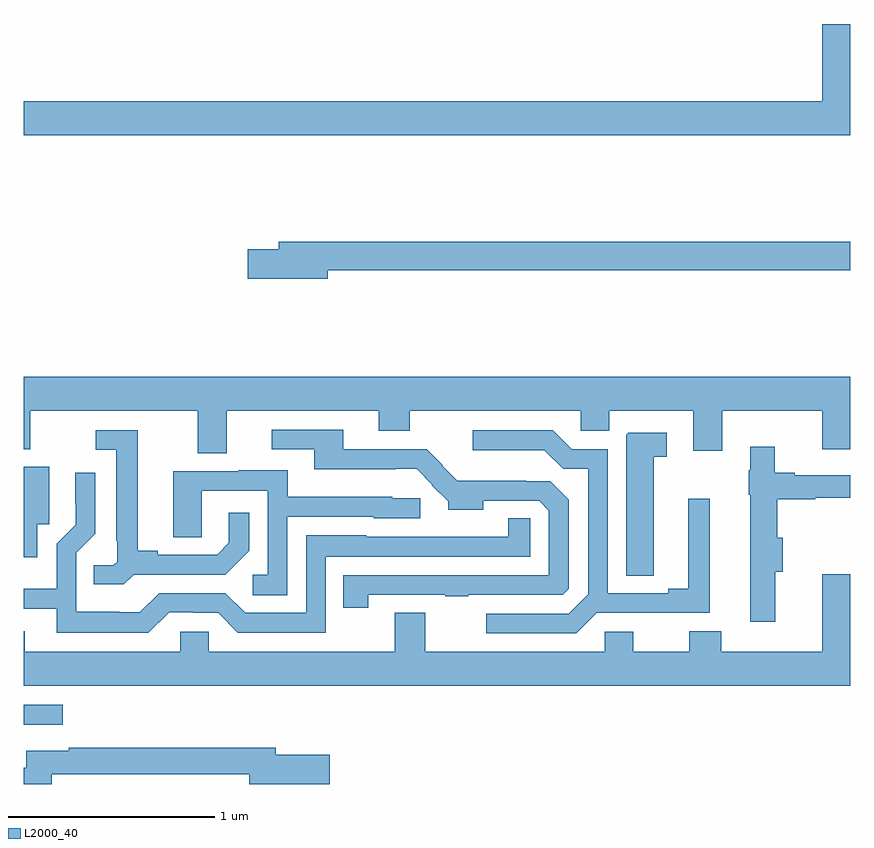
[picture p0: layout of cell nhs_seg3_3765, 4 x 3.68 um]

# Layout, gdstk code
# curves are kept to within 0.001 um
import gdstk
lib = gdstk.Library(unit=1e-6, precision=1e-09)
def R(c, l, rs):  # rectangles x0, y0, x1, y1
    for r in rs: c.add(gdstk.rectangle(r[:2], r[2:], *l))
def P(c, l, *ps):  # polygons
    for p in ps: c.add(gdstk.Polygon(p, *l))
L2000_40 = (2000, 40)

nhs_seg3_3765 = lib.new_cell('nhs_seg3_3765')
R(nhs_seg3_3765, L2000_40, [(305,740.688,305.188,740.784)])
P(nhs_seg3_3765, L2000_40, [(309,744.079),(308.864,744.079),(308.864,743.704),(305,743.704),(305,743.54),(309,743.54)],
  [(306.472,742.888),(309,742.888),(309,743.024),(306.233,743.024),(306.233,742.988),(306.084,742.988),(306.084,742.846),(306.472,742.846)],
  [(305,742.021),(305.031,742.021),(305.031,742.208),(305.843,742.208),(305.843,742),(305.983,742),(305.983,742.208),(306.719,742.208),(306.719,742.109),(306.867,742.109),(306.867,742.208),(307.695,742.208),(307.695,742.11),(307.834,742.11),(307.834,742.208),(308.24,742.208),(308.24,742.014),(308.38,742.014),(308.38,742.208),(308.864,742.208),(308.864,742.02),(309,742.02),(309,742.372),(305,742.372)],
  [(306.666,741.315),(307.039,741.315),(307.039,741.31),(307.151,741.31),(307.151,741.315),(307.608,741.315),(307.638,741.345),(307.638,741.777),(307.549,741.866),(307.433,741.866),(307.433,741.868),(307.099,741.868),(307.025,741.941),(307.027,741.943),(306.951,742.02),(306.547,742.02),(306.547,742.116),(306.201,742.116),(306.201,742.02),(306.407,742.02),(306.407,741.923),(306.8,741.923),(306.8,741.926),(306.902,741.926),(306.978,741.849),(306.975,741.846),(307.054,741.768),(307.054,741.728),(307.225,741.728),(307.225,741.771),(307.494,741.771),(307.542,741.723),(307.542,741.411),(306.547,741.411),(306.547,741.252),(306.666,741.252)],
  [(305.532,741.414),(305.974,741.414),(306.09,741.53),(306.09,741.712),(305.993,741.712),(305.993,741.567),(305.936,741.51),(305.647,741.51),(305.647,741.53),(305.551,741.53),(305.551,742.113),(305.349,742.113),(305.349,742.017),(305.447,742.017),(305.447,741.577),(305.451,741.577),(305.451,741.477),(305.433,741.459),(305.338,741.459),(305.338,741.367),(305.484,741.367)],
  [(307.774,741.228),(308.32,741.228),(308.32,741.781),(308.216,741.781),(308.216,741.344),(308.12,741.344),(308.12,741.324),(307.827,741.324),(307.827,742.02),(307.653,742.02),(307.56,742.113),(307.173,742.113),(307.173,742.016),(307.519,742.016),(307.61,741.925),(307.731,741.925),(307.731,741.318),(307.638,741.225),(307.239,741.225),(307.239,741.129),(307.675,741.129)],
  [(308.05,741.985),(308.113,741.985),(308.113,742.101),(307.926,742.101),(307.916,742.091),(307.916,741.409),(308.05,741.409)],
  [(308.638,741.427),(308.674,741.427),(308.674,741.592),(308.648,741.592),(308.648,741.778),(308.831,741.778),(308.831,741.786),(309,741.786),(309,741.894),(308.731,741.894),(308.731,741.907),(308.635,741.907),(308.635,742.033),(308.516,742.033),(308.516,741.92),(308.509,741.92),(308.509,741.801),(308.516,741.801),(308.516,741.186),(308.638,741.186)],
  [(305.065,741.657),(305.122,741.657),(305.122,741.936),(305,741.936),(305,741.498),(305.065,741.498)],
  [(306.276,741.693),(306.693,741.693),(306.693,741.687),(306.918,741.687),(306.918,741.783),(306.783,741.783),(306.783,741.79),(306.277,741.79),(306.277,741.919),(306.041,741.919),(306.041,741.915),(305.723,741.915),(305.723,741.595),(305.862,741.595),(305.862,741.819),(306.18,741.819),(306.18,741.414),(306.108,741.414),(306.108,741.313),(306.276,741.313)],
  [(305.703,741.231),(305.82,741.231),(305.82,741.228),(305.94,741.228),(306.036,741.132),(306.462,741.132),(306.462,741.501),(307.452,741.501),(307.452,741.686),(307.344,741.686),(307.344,741.598),(306.657,741.597),(306.657,741.604),(306.366,741.604),(306.366,741.228),(306.072,741.228),(305.976,741.324),(305.655,741.324),(305.562,741.231),(305.462,741.231),(305.462,741.235),(305.253,741.235),(305.253,741.519),(305.346,741.612),(305.346,741.907),(305.25,741.907),(305.25,741.76),(305.252,741.76),(305.252,741.654),(305.16,741.562),(305.16,741.346),(305,741.346),(305,741.249),(305.159,741.249),(305.159,741.131),(305.603,741.131)],
  [(309,741.415),(308.864,741.415),(308.864,741.04),(308.375,741.04),(308.375,741.139),(308.222,741.139),(308.222,741.04),(307.951,741.04),(307.951,741.138),(307.812,741.138),(307.812,741.04),(306.943,741.04),(306.943,741.23),(306.796,741.23),(306.796,741.04),(305.895,741.04),(305.895,741.138),(305.757,741.138),(305.757,741.04),(305.005,741.04),(305.005,741.139),(305,741.139),(305,740.876),(309,740.876)],
  [(305.135,740.446),(306.092,740.446),(306.092,740.4),(306.481,740.4),(306.481,740.541),(306.22,740.541),(306.22,740.575),(305.218,740.575),(305.218,740.562),(305.012,740.562),(305.012,740.478),(305,740.478),(305,740.4),(305.135,740.4)])

lib.write_gds('nhs_seg3_3765.gds')
